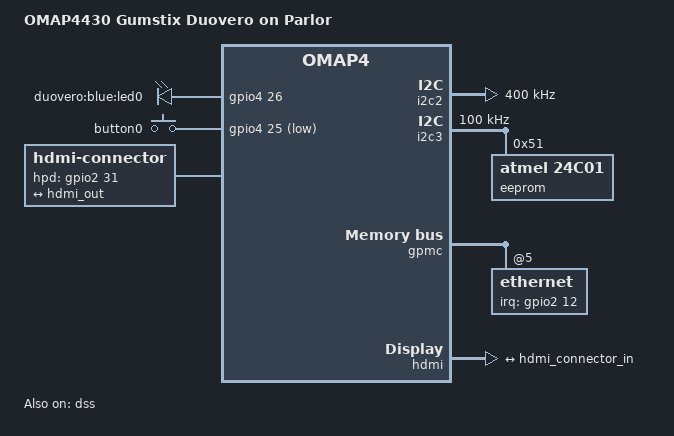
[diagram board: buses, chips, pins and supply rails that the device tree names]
// SPDX-License-Identifier: GPL-2.0-only
/*
 * Copyright (C) 2014 Florian Vaussard, EPFL Mobots group
 */
/dts-v1/;

#include "omap4-duovero.dtsi"

#include <dt-bindings/input/input.h>

/ {
	model = "OMAP4430 Gumstix Duovero on Parlor";
	compatible = "gumstix,omap4-duovero-parlor", "gumstix,omap4-duovero", "ti,omap4430", "ti,omap4";

	aliases {
		display0 = &hdmi0;
	};

	leds {
		compatible = "gpio-leds";
		led0 {
			label = "duovero:blue:led0";
			gpios = <&gpio4 26 GPIO_ACTIVE_HIGH>;	/* gpio_122 */
			linux,default-trigger = "heartbeat";
		};
	};

	gpio_keys {
		compatible = "gpio-keys";
		#address-cells = <1>;
		#size-cells = <0>;
		button0 {
			label = "button0";
			linux,code = <BTN_0>;
			gpios = <&gpio4 25 GPIO_ACTIVE_LOW>;	/* gpio_121 */
			/* Value above 7.95ms for no GPIO hardware debounce */
			debounce-interval = <10>;
			wakeup-source;
		};
	};

	hdmi0: connector {
		compatible = "hdmi-connector";
		label = "hdmi";

		type = "d";

		hpd-gpios = <&gpio2 31 GPIO_ACTIVE_HIGH>;	/* gpio_63 */

		port {
			hdmi_connector_in: endpoint {
				remote-endpoint = <&hdmi_out>;
			};
		};
	};
};

&omap4_pmx_core {
	pinctrl-0 = <
			&led_pins
			&button_pins
			&smsc_pins
	>;

	led_pins: pinmux_led_pins {
		pinctrl-single,pins = <
			OMAP4_IOPAD(0x116, PIN_OUTPUT | MUX_MODE3)		/* abe_dmic_din3.gpio_122 */
		>;
	};

	button_pins: pinmux_button_pins {
		pinctrl-single,pins = <
			OMAP4_IOPAD(0x114, PIN_INPUT_PULLUP | MUX_MODE3)	/* abe_dmic_din2.gpio_121 */
		>;
	};

	i2c2_pins: pinmux_i2c2_pins {
		pinctrl-single,pins = <
			OMAP4_IOPAD(0x126, PIN_INPUT_PULLUP | MUX_MODE0)	/* i2c2_scl */
			OMAP4_IOPAD(0x128, PIN_INPUT_PULLUP | MUX_MODE0)	/* i2c2_sda */
		>;
	};

	i2c3_pins: pinmux_i2c3_pins {
		pinctrl-single,pins = <
			OMAP4_IOPAD(0x12a, PIN_INPUT_PULLUP | MUX_MODE0)	/* i2c3_scl */
			OMAP4_IOPAD(0x12c, PIN_INPUT_PULLUP | MUX_MODE0)	/* i2c3_sda */
		>;
	};

	smsc_pins: pinmux_smsc_pins {
		pinctrl-single,pins = <
			OMAP4_IOPAD(0x068, PIN_INPUT | MUX_MODE3)		/* gpmc_a20.gpio_44: IRQ */
			OMAP4_IOPAD(0x06a, PIN_INPUT_PULLUP | MUX_MODE3)	/* gpmc_a21.gpio_45: nReset */
			OMAP4_IOPAD(0x070, PIN_INPUT_PULLUP | MUX_MODE3)	/* gpmc_a24.gpio_48: amdix enabled */
		>;
	};

	dss_hdmi_pins: pinmux_dss_hdmi_pins {
		pinctrl-single,pins = <
			OMAP4_IOPAD(0x098, PIN_INPUT | MUX_MODE3)		/* hdmi_hpd.gpio_63 */
			OMAP4_IOPAD(0x09a, PIN_INPUT | MUX_MODE0)		/* hdmi_cec.hdmi_cec */
			OMAP4_IOPAD(0x09c, PIN_INPUT_PULLUP | MUX_MODE0)	/* hdmi_ddc_scl.hdmi_ddc_scl */
			OMAP4_IOPAD(0x09e, PIN_INPUT_PULLUP | MUX_MODE0)	/* hdmi_ddc_sda.hdmi_ddc_sda */
		>;
	};
};

&i2c2 {
	pinctrl-names = "default";
	pinctrl-0 = <&i2c2_pins>;

	clock-frequency = <400000>;
};

&i2c3 {
	pinctrl-names = "default";
	pinctrl-0 = <&i2c3_pins>;

	clock-frequency = <100000>;

	/* optional 1K EEPROM with revision information */
	eeprom@51 {
		compatible = "atmel,24c01";
		reg = <0x51>;
		pagesize = <8>;
	};
};

&mmc3 {
	status = "disabled";
};

#include "omap-gpmc-smsc911x.dtsi"

&gpmc {
	ranges = <5 0 0x2c000000 0x1000000>;			/* CS5 */

	ethernet@gpmc {
		reg = <5 0 0xff>;
		interrupt-parent = <&gpio2>;
		interrupts = <12 IRQ_TYPE_EDGE_FALLING>;	/* gpio_44 */

		phy-mode = "mii";

		gpmc,cs-on-ns = <10>;
		gpmc,cs-rd-off-ns = <50>;
		gpmc,cs-wr-off-ns = <50>;
		gpmc,adv-on-ns = <0>;
		gpmc,adv-rd-off-ns = <10>;
		gpmc,adv-wr-off-ns = <10>;
		gpmc,oe-on-ns = <15>;
		gpmc,oe-off-ns = <50>;
		gpmc,we-on-ns = <15>;
		gpmc,we-off-ns = <50>;
		gpmc,rd-cycle-ns = <50>;
		gpmc,wr-cycle-ns = <50>;
		gpmc,access-ns = <50>;
		gpmc,page-burst-access-ns = <0>;
		gpmc,bus-turnaround-ns = <35>;
		gpmc,cycle2cycle-delay-ns = <35>;
		gpmc,wr-data-mux-bus-ns = <35>;
		gpmc,wr-access-ns = <50>;

		gpmc,mux-add-data = <2>;
		gpmc,sync-read;
		gpmc,sync-write;
		gpmc,clk-activation-ns = <5>;
		gpmc,sync-clk-ps = <20000>;
	};
};

&dss {
	status = "ok";
};

&hdmi {
	status = "ok";
	vdda-supply = <&vdac>;

	pinctrl-names = "default";
	pinctrl-0 = <&dss_hdmi_pins>;

	port {
		hdmi_out: endpoint {
			remote-endpoint = <&hdmi_connector_in>;
		};
	};
};

&uart3 {
	interrupts-extended = <&wakeupgen GIC_SPI 74 IRQ_TYPE_LEVEL_HIGH
			       &omap4_pmx_core OMAP4_UART3_RX>;
};
